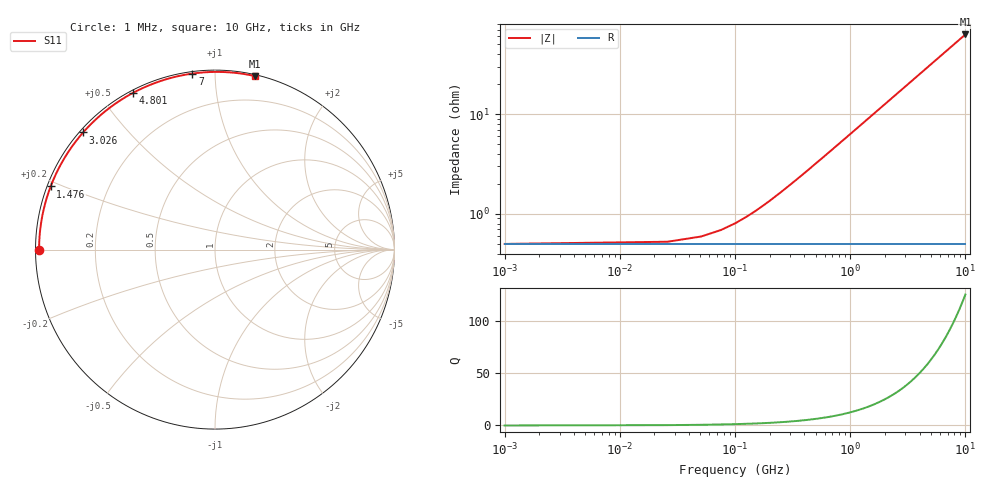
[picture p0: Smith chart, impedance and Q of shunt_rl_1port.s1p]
! Synthetic 1-port shunt R+L
! R = 0.5 Ohm
! L = 1e-09 H
! Port[1] = pin
# HZ S RI R 50
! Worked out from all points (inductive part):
!   401 points, 1 MHz to 10 GHz, reference 50 ohm
!   read as one part to ground: L = 1 nH near 251 MHz
!   highest Q = 126 at 10 GHz (marker M1), where L = 1 nH
!   S11 on the Smith chart (normalised r, x): 1 MHz: 0.01, +0.00; 1.476 GHz: 0.01, +0.19; 3.026 GHz: 0.01, +0.38; 4.801 GHz: 0.01, +0.60; 7 GHz: 0.01, +0.88; 10 GHz: 0.01, +1.26
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1000000  -0.9802 0.000246
5.0995e7  -0.9801 0.0126
3.259675e8  -0.9769 0.0802
6.259375e8  -0.9683 0.1533
9.259075e8  -0.9543 0.2251
1.250875e9  -0.9334 0.3009
1.475852e9  -0.9156 0.3518
1.975802e9  -0.8674 0.459
2.50075e9  -0.8054 0.5617
2.775722e9  -0.7692 0.611
3.025698e9  -0.7344 0.6529
3.375662e9  -0.6833 0.707
3.750625e9  -0.6261 0.7588
4.0006e9  -0.587 0.7899
4.275572e9  -0.5434 0.821
4.80052e9  -0.4595 0.8717
5.0005e9  -0.4276 0.8882
5.30047e9  -0.38 0.9101
5.60044e9  -0.333 0.9288
5.925408e9  -0.2829 0.9458
6.250375e9  -0.2339 0.9596
6.625338e9  -0.179 0.9719
7.0003e9  -0.126 0.9807
7.50025e9  -0.0585 0.9877
8.125188e9  0.0207 0.99
8.750125e9  0.0938 0.9865
9.450055e9  0.1688 0.9773
1e10  0.2228 0.9669
